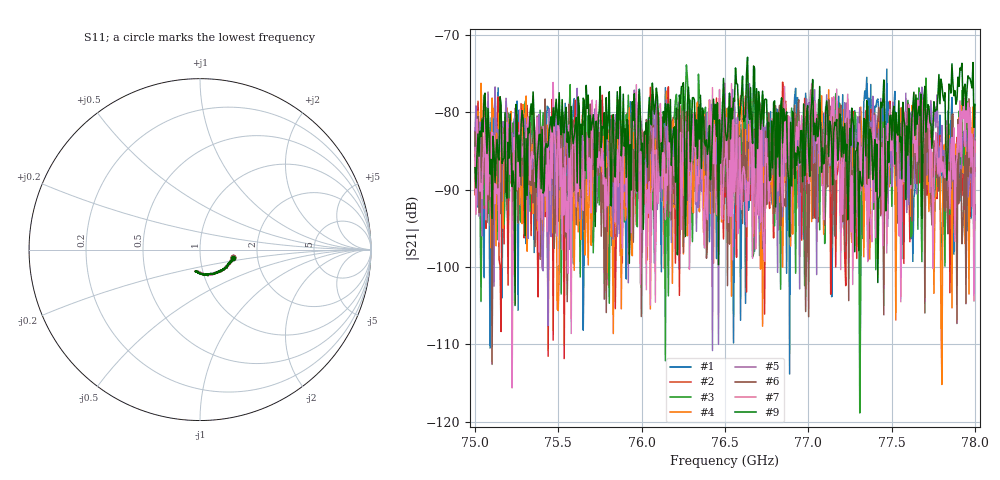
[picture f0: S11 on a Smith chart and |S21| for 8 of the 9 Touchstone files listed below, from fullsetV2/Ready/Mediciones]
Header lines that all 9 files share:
# Hz S MA R 50
! CMT, C4420, 21421029, 25.1.2/3
! Data: Format (Calibration Info)
! Freq	S33:Mag/Ang(F2)	S43:Mag/Ang(F2)	S34:Mag/Ang(F2)	S44:Mag/Ang(F2)
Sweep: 75 GHz to 78 GHz
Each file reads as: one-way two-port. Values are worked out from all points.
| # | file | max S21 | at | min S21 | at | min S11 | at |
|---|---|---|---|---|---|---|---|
| 1 | abs4.s2p | -74.44 dB | 77.471 GHz | -113.8 dB | 76.888 GHz | -18.0 dB | 77.988 GHz |
| 2 | abs5_band.s2p | -76.13 dB | 76.846 GHz | -111.8 dB | 75.535 GHz | -18.0 dB | 77.97 GHz |
| 3 | abs6_band.s2p | -73.90 dB | 76.269 GHz | -118.9 dB | 77.309 GHz | -17.9 dB | 77.952 GHz |
| 4 | abs10degband.s2p | -76.27 dB | 75.036 GHz | -115.2 dB | 77.802 GHz | -17.9 dB | 77.988 GHz |
| 5 | abs20deg3.s2p | -76.26 dB | 76.497 GHz | -110.8 dB | 76.425 GHz | -17.9 dB | 78 GHz |
| 6 | abs20deg5.s2p | -77.20 dB | 77.014 GHz | -112.6 dB | 75.102 GHz | -17.9 dB | 77.952 GHz |
| 7 | abs20deg7.s2p | -76.18 dB | 75.469 GHz | -115.6 dB | 75.222 GHz | -17.9 dB | 77.856 GHz |
| 8 | abs20degband.s2p | -75.70 dB | 76.629 GHz | -114.5 dB | 77.573 GHz | -18.0 dB | 77.946 GHz |
| 9 | Reflectioncontrol10deg.s2p | -72.92 dB | 76.635 GHz | -105.0 dB | 75.24 GHz | -18.0 dB | 77.976 GHz |
